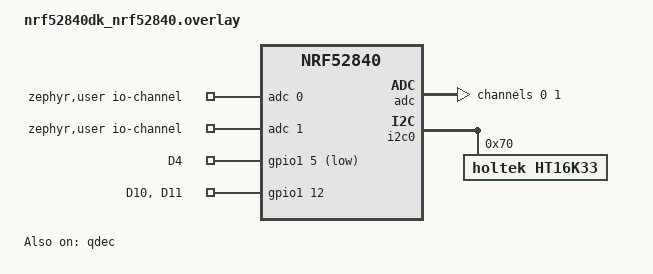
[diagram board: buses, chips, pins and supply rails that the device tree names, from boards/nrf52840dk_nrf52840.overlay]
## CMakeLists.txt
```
cmake_minimum_required(VERSION 3.20.0)
find_package(Zephyr REQUIRED HINTS $ENV{ZEPHYR_BASE})

project(led-game)

target_include_directories(app PRIVATE "include")

file(GLOB SRC_FILES "src/*.c")
file(GLOB SRC_COMMAND_FILES "src/command/*.c")
file(GLOB SRC_STATE_FILES "src/state/*.c")
file(GLOB SRC_STRATEGY_FILES "src/strategy/*.c")
target_sources(app PRIVATE 
               ${SRC_FILES} ${SRC_COMMAND_FILES} 
               ${SRC_STATE_FILES} ${SRC_STRATEGY_FILES})
```

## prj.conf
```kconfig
CONFIG_ADC=y
CONFIG_ENTROPY_GENERATOR=y
CONFIG_I2C=y
CONFIG_SENSOR=y
CONFIG_TEST_RANDOM_GENERATOR=y
```

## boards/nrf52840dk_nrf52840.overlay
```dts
/ {
    zephyr,user {
        io-channels = <&adc 0>, <&adc 1>;
    };

    shield_gpios: shield_gpios {
        compatible = "gpio-keys";

        rotary_encoder {
            gpios = <&gpio1 5 (GPIO_PULL_UP | GPIO_ACTIVE_LOW)>;	
            label = "D4";
        };

        tm1651 {
            gpios = <&gpio1 12 GPIO_ACTIVE_HIGH>, <&gpio1 13 GPIO_ACTIVE_HIGH>;
            label = "D10, D11";
        };
    };
};

&adc {
    #address-cells = <1>;
    #size-cells = <0>;
    
    channel@0 {
        reg = <0x00>;
        zephyr,gain = "ADC_GAIN_1_6";
        zephyr,acquisition-time = <ADC_ACQ_TIME_DEFAULT>;
        zephyr,reference = "ADC_REF_INTERNAL";
        zephyr,input-positive = <NRF_SAADC_AIN1>;
        zephyr,resolution = <12>;
    };

    channel@1 {
        reg = <0x01>;
        zephyr,gain = "ADC_GAIN_1_6";
        zephyr,acquisition-time = <ADC_ACQ_TIME_DEFAULT>;
        zephyr,reference = "ADC_REF_INTERNAL";
        zephyr,input-positive = <NRF_SAADC_AIN2>;
        zephyr,resolution = <12>;
    };
};

&i2c0 {
    ht16k33@70 {
        compatible = "holtek,ht16k33";
        reg = <0x70>;
                        
        keyscan {
            compatible = "holtek,ht16k33-keyscan";
        };
    };
};

&pinctrl {
    qdec_custom: qdec_custom {
        group1 {
            psels = <NRF_PSEL(QDEC_A, 1, 3)>,
                    <NRF_PSEL(QDEC_B, 1, 4)>;
        };
    };
};

&qdec {
    status = "okay";
    pinctrl-0 = <&qdec_custom>;
    pinctrl-names = "default";
    led-pre = <500>;
    steps = <20>; 
};
```

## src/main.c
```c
#include "application.h"
#include "node.h"
#include "state/game_set_state.h"

int main() {
    struct game_set_state game_set_state;
    struct dev led_matrix;
    struct dev battery_led;
    struct dev joystick;
    struct dev qdec_dial;
    struct dev qdec_btn;
    struct displayer displayer;
    struct app app;
    struct gpio_dt_spec sw = GPIO_DT_SPEC_GET(ROTARY_ENCODER_NODE, gpios);

    init_displayer(&displayer, &led_matrix, &battery_led);
    
    init_game_set_state(&game_set_state);
    init_dev(&qdec_dial, 
             (struct device_cmd *) sensor_read_cmd_get_inst(&game_set_state, 
                    DEVICE_DT_GET(QDEC_NODE), SENSOR_CHAN_ROTATION));
    init_dev(&qdec_btn, 
             (struct device_cmd *) gpio_read_cmd_get_inst(
                    &game_set_state, &sw));
    
    init_app(&app, &displayer, &joystick, &qdec_dial, &qdec_btn, 
             &game_set_state);

    start(&app);

    return 0;
}
```

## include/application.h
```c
#ifndef APP_H
#define APP_H

#include "displayer.h"
#include "dev.h"
#include "state/service_state.h"

struct app {
    struct displayer *displayer;
    struct dev *joystick;
    struct dev *qdec_dial;
    struct dev *qdec_btn;
    struct service_state *state;
};

void init_app(struct app *app, struct displayer *displayer, 
        struct dev *joystick, struct dev *qdec_dial, struct dev *qdec_btn, 
        struct service_state *state);
void start(struct app *app);
struct displayer *get_displayer(struct app *app);
struct dev *get_joystick(struct app *app);
struct dev *get_qdec_btn(struct app *app);
struct dev *get_qdec_dial(struct app *app);
void set_state(struct app *app, struct service_state *state);


#endif
```

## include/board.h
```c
#ifndef BAORD_H
#define BOARD_H

#define BOARD_WID   16
#define BOARD_HEI   8

#define NUM_DIR     4

enum move_dir {
    DIR_RIGHT,   
    DIR_LEFT,    
    DIR_UP,      
    DIR_DOWN    
};

#endif
```

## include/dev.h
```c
#ifndef DEV_H
#define DEV_H

#include "command/device_cmd.h"

#define JOY_X   0
#define JOY_Y   1

#define JOY_LEFT_THRESH     100
#define JOY_RIGHT_THRESH    2000
#define JOY_UP_THRESH       2000
#define JOY_DOWN_THRESH     1000

struct dev {
    struct device_cmd *cmd;
};

void init_dev(struct dev *dev, struct device_cmd *cmd);
void request(struct dev *dev);
void set_cmd(struct dev *dev, struct device_cmd *cmd);

#endif
```

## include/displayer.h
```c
#ifndef DISPLAYER_H
#define DISPLAYER_H

#include <zephyr/drivers/i2c.h>
#include <zephyr/drivers/gpio.h>
#include "dev.h"
#include "enemy.h"
#include "player.h"

struct displayer {
    struct dev *led_matrix;
    struct dev *battery_led;
};

void init_displayer(struct displayer *displayer, 
                    struct dev *led_matrix, struct dev *battery_led);
void display_game(struct displayer *displayer, struct player *player, 
                  struct enemy *enemies, int num_enemies);
void display_number(struct displayer *displayer, int num);

#endif
```

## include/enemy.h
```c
#ifndef ENEMY_H
#define ENEMY_H

#include "strategy/move_strat.h"
#include "unit.h"

/**
 * @brief Struct that represents enemy of the game.
 * 
 */
struct enemy {
    struct unit unit;
    struct move_strat *strategy;
};

void init_enemy(struct enemy *enemy, 
                struct move_strat *strategy, int init_loc, bool overflow);
void move(struct enemy *enemy);

#endif
```

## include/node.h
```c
#ifndef NODE_H
#define NODE_H

#define HT16K33_NODE            DT_CHILD(DT_NODELABEL(i2c0), ht16k33_70)
#define QDEC_NODE               DT_NODELABEL(qdec)
#define ROTARY_ENCODER_NODE     DT_CHILD(DT_NODELABEL(shield_gpios), rotary_encoder)
#define TM1651_NODE             DT_CHILD(DT_NODELABEL(shield_gpios), tm1651)
#define USER_NODE               DT_PATH(zephyr_user)

#endif 
```

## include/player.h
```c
#ifndef PLAYER_H
#define PLAYER_H

#include <stdbool.h>
#include "board.h"
#include "unit.h"

#define INIT_PLAYER_LOC     64
#define MAX_HEALH           7

/**
 * @brief Struct that represents player of the game.
 * 
 */
struct player {
    struct unit unit;
    int health;
};

void init_player(struct player *player, 
                 int init_loc, int health, bool overflow);
void move_right(struct player *player);
void move_left(struct player *player);
void move_up(struct player *player);
void move_down(struct player *player);
void lose_health(struct player *player);

#endif
```

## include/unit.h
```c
#ifndef UNIT_H
#define UNIT_H

#include <stdbool.h>

/**
 * @brief Struct that represents unit of the game. 
 * 
 * It is base class of `struct player` and `struct enemy`.
 * 
 */
struct unit {
    int init_loc;
    int loc;
    bool overflow;
};

void init_unit(struct unit *unit, int init_loc, bool overflow);
void respawn(struct unit *unit);
int get_loc(struct unit *unit);
void set_loc(struct unit *unit, int loc);

#endif
```

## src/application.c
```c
#include "application.h"

static void begin_state(struct app *app);

/**
 * @brief Initializes app instance.
 * 
 * @param app pointer to app instance
 * @param displayer displayer instance
 * @param joystick dev instance that represents joystick
 * @param qdec_dial dev instance that represent qdec dial
 * @param qdec_btn dev instance that represent qdec button
 * @param state service_state instance
 */
void init_app(struct app *app, struct displayer *displayer, 
        struct dev *joystick, struct dev *qdec_dial, struct dev *qdec_btn, 
        struct service_state *state ) {
    app->displayer = displayer;
    app->joystick = joystick;
    app->qdec_dial = qdec_dial;
    app->qdec_btn = qdec_btn;
    app->state = state;
}

/**
 * @brief Starts app instance.
 * 
 * @param app pointer to app instance
 */
void start(struct app *app) {
    while (1) {
        printk("begin state\n");
        begin_state(app);
    }
}

/**
 * @brief Begins `state`.
 * 
 * @param app pointer to the app instance
 */
static void begin_state(struct app *app) {
    app->state->begin(app->state, app);
}

struct displayer *get_displayer(struct app *app) {
    return app->displayer;
}

struct dev *get_joystick(struct app *app) {
    return app->joystick;
}

struct dev *get_qdec_dial(struct app *app) {
    return app->qdec_dial;
}

struct dev *get_qdec_btn(struct app *app) {
    return app->qdec_btn;
}

void set_state(struct app *app, struct service_state *state) {
    app->state = state;
}
```

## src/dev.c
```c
#include "dev.h"

/**
 * @brief Initializes dev instance.
 * 
 * @param dev pointer to the dev instance
 * @param cmd device_cmd instance
 */
void init_dev(struct dev *dev, struct device_cmd *cmd) {
    dev->cmd = cmd;
}

/**
 * @brief Requests `cmd`.
 * 
 * @param dev pointer to the dev instance
 */
void request(struct dev *dev) {
    dev->cmd->execute(dev->cmd);
}

void set_cmd(struct dev *dev, struct device_cmd *cmd) {
    dev->cmd = cmd;
}
```

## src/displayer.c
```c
#include "command/i2c_write_cmd.h"
#include "command/tm1651_write_cmd.h"
#include "displayer.h"
#include "node.h"

#define HT16K33_SYSTEM_ON_CMD   0x21U
#define HT16K33_DISPLAY_ON_CMD  0x81U
#define HT16K33_CMD_LEN         1

#define MAX_DATA_SIZE           16

static uint8_t health2byte(int health);
static void ht16k33_init(struct displayer *displayer);

/**
 * @brief Initializes displayer instance.
 * 
 * @param displayer pointer to the displayer instance
 * @param led_matrix dev instance that represents led matrix
 * @param battery_led dev instancce that represents battery led
 */
void init_displayer(struct displayer *displayer, 
                    struct dev *led_matrix, struct dev *battery_led) {
    displayer->led_matrix = led_matrix;
    displayer->battery_led = battery_led;

    ht16k33_init(displayer);
}

/**
 * @brief Initializes ht16k33 led matrix hardware. 
 * 
 * @param displayer pointer to the displayer instance
 */
static void ht16k33_init(struct displayer *displayer) {
    struct i2c_dt_spec led_spec = I2C_DT_SPEC_GET(HT16K33_NODE);
    const uint8_t init_cmds[] = { HT16K33_SYSTEM_ON_CMD, 
                                  HT16K33_DISPLAY_ON_CMD };

    for (int i = 0; i < sizeof(init_cmds) / sizeof(uint8_t); i++) {
        set_cmd(displayer->led_matrix, 
                (struct device_cmd *) i2c_write_cmd_get_inst(
                        &led_spec, init_cmds + i, HT16K33_CMD_LEN));
        request(displayer->led_matrix);
    }
}

/**
 * @brief Displays game to UI.
 * 
 * @param displayer pointer to the displayer instance
 * @param player player instance to be displayed
 * @param enemies array of enemy instance to be displayed
 * @param num_enemies the number of the enemy instances 
 */
void display_game(struct displayer *displayer, struct player *player,
                  struct enemy *enemies, int num_enemies) {
    struct i2c_dt_spec led = I2C_DT_SPEC_GET(HT16K33_NODE);
    struct gpio_dt_spec clk = GPIO_DT_SPEC_GET_BY_IDX(TM1651_NODE, gpios, 0);
    struct gpio_dt_spec dio = GPIO_DT_SPEC_GET_BY_IDX(TM1651_NODE, gpios, 1);
    uint8_t buf[MAX_DATA_SIZE + 1] = { 0 };

    buf[player->unit.loc / (BOARD_WID / 2) + 1] |= 
            1 << player->unit.loc % (BOARD_WID / 2);

    for (int i = 0; i < num_enemies; i++) {
        buf[enemies[i].unit.loc / (BOARD_WID / 2) + 1] |= 
                1 << enemies[i].unit.loc % (BOARD_WID / 2);
    }

    set_cmd(displayer->led_matrix, 
            (struct device_cmd *) i2c_write_cmd_get_inst(
                    &led, buf, MAX_DATA_SIZE + 1));
    request(displayer->led_matrix);

    set_cmd(displayer->battery_led, 
            (struct device_cmd *) tm1651_write_cmd_get_inst(
                    &clk, &dio, health2byte(player->health)));
    request(displayer->battery_led);    
}

/**
 * @brief Displays number to UI.
 * 
 * @param displayer pointer to the displayer instance
 * @param num number to be displayed 
 */
void display_number(struct displayer *displayer, int num) {
    struct i2c_write_cmd cmd;
    struct i2c_dt_spec led = I2C_DT_SPEC_GET(HT16K33_NODE);
    uint8_t numbers_bytes[][8] = 
        { { 0x38, 0x44, 0x44, 0x44, 0x44, 0x44, 0x44, 0x38 }, 
          { 0x10, 0x18, 0x14, 0x10, 0x10, 0x10, 0x10, 0x7C },
          { 0x10, 0x28, 0x44, 0x20, 0x10, 0x08, 0x04, 0x7C },
          { 0x3C, 0x40, 0x40, 0x3C, 0x40, 0x40, 0x40, 0x3C },
          { 0x20, 0x30, 0x28, 0x24, 0x7E, 0x20, 0x20, 0x20 },
          { 0x7C, 0x04, 0x04, 0x3C, 0x40, 0x40, 0x44, 0x38 },
          { 0x38, 0x04, 0x04, 0x3C, 0x44, 0x44, 0x44, 0x38 },
          { 0x7C, 0x44, 0x44, 0x44, 0x40, 0x40, 0x40, 0x40 },
          { 0x38, 0x44, 0x44, 0x38, 0x44, 0x44, 0x44, 0x38 },
          { 0x38, 0x44, 0x44, 0x44, 0x78, 0x40, 0x40, 0x40 } };
    uint8_t buf[BUF_SIZE] = { 0 };

    for (int i = 1; i < BUF_SIZE; i++) {
        buf[i] = i % 2 == 0 ? numbers_bytes[num % 10][(i - 1) / 2] 
                            : numbers_bytes[num / 10][(i - 1) / 2];
    }

    init_i2c_write_cmd(&cmd, &led, buf, MAX_DATA_SIZE + 1);
    set_cmd(displayer->led_matrix, &cmd);
    request(displayer->led_matrix);
}

static uint8_t health2byte(int health) {    
    uint8_t byte = 0x00;

    for (int i = 1; i <= health; i++) {
        byte |= 1 << (8 - i);
    }

    return byte;
}
```

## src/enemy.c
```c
#include "enemy.h"

/**
 * @brief Initializes enemy instance.
 * 
 * @param enemy pointer to the enemy instance
 * @param strategy move strategy
 * @param init_loc initial location
 * @param overflow whether move of `enemy` can overflow the board or not
 */
void init_enemy(struct enemy *enemy, 
                struct move_strat *strategy, int init_loc, bool overflow) {
    init_unit((struct unit *) enemy, init_loc, overflow);
    
    enemy->strategy = strategy;
}

/**
 * @brief Moves `enemy` according to its `strategy`.
 * 
 * @param enmy pointer to the enemy instance
 */
void move(struct enemy *enemy) {
    enemy->strategy->move(enemy->strategy, enemy);
}
```
